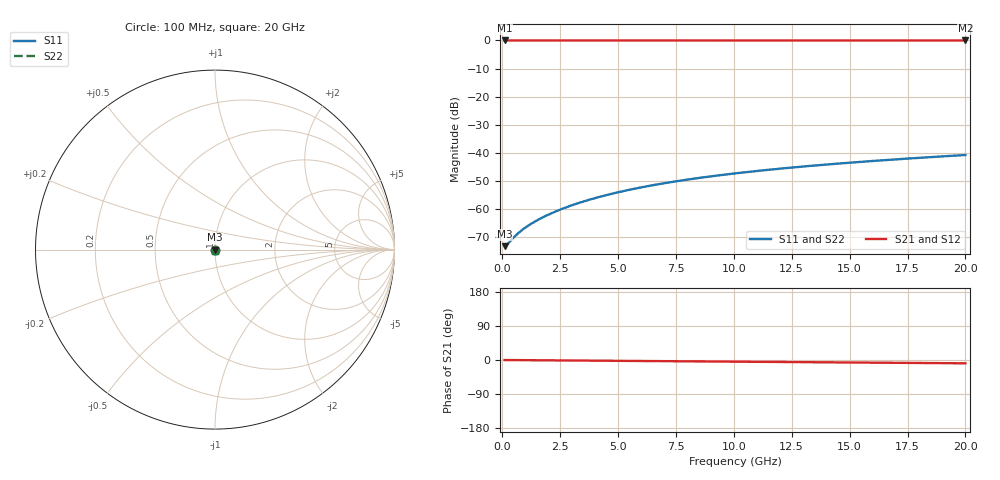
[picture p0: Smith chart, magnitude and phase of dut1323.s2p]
! Touchstone file exported from HFSS 2026.1.0
!  File:  C:/ffzhzh/LocalFiles/Ansys_Project_Files/temp_train_TSV_1323_1783195200_51560.aedt
!  Generated:  04:01:38 AM Jul  5, 2026
!  Design:  TSV
!  Project:  temp_train_TSV_1323_1783195200_51560
! Variables:
!  h_bsmrdl = 2um
!  h_ox = 20um
!  h_rdl = 5um
!  h_sub = 92.59um
!  h_tmrdl = 5um
!  h_tsv = 92.59um
!  h_via = 3um
!  l_bsmrdl = 300um
!  l_sub = 415.5um
!  l_tmrdl = 200um
!  m_sub = 200um
!  pitch = 29.82um
!  r_tsv = 7.75um
!  s_tmrdl = 10um
!  w_bsmrdl = 18um
!  w_sub = 500um
!  w_tmrdl = 12um
!  x_tsv_center1 = 206um
!  x_tsv_center2 = 524um
!  x_tsv_center3 = 736um
!  x_tsv_center4 = 1054um
!  x_tsv_center5 = 1266um
!  x_tsv_center6 = 1584um
# GHz S MA R 50.000000
! Terminal data exported
! Port[1] = TSV1_1_T1
! Port[2] = TSV1_1_T2
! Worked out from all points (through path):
!   200 points, 100 MHz to 20 GHz, reference 50 ohm
!   highest |S21| = 0.00 dB at 100 MHz (marker M1); lowest = 0.0 dB at 20 GHz (marker M2)
!   group delay of S21, straight-line fit = 1.21 ps
!   lowest |S11| = -73.1 dB at 100 MHz (marker M3), VSWR 1.00, Z = 50 + j0.00113 ohm
!   |S11| at or under -10 dB: start of sweep to end of sweep
!   |S22| runs from -73.1 to -40.7 dB; largest |S21 - S12| = 3.1e-15
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0.1  0.0002201 3.0  0.9998 -0.0  0.9998 -0.0  0.0002201 3.0
! Gamma 0 0 0 0
! Port Impedance 50 0 50 0
0.2  0.0002359 4.7  0.9998 -0.1  0.9998 -0.1  0.0002359 4.7
0.6  0.000347 -3.1  0.9997 -0.3  0.9997 -0.3  0.000347 -3.1
0.8  0.0004095 -10.4  0.9996 -0.4  0.9996 -0.4  0.0004095 -10.4
1.1  0.000504 -20.9  0.9995 -0.5  0.9995 -0.5  0.000504 -20.9
1.4  0.0006003 -29.5  0.9995 -0.6  0.9995 -0.6  0.0006003 -29.5
1.8  0.0007336 -38.3  0.9994 -0.8  0.9994 -0.8  0.0007336 -38.3
2.3  0.0009093 -46.2  0.9994 -1.0  0.9994 -1.0  0.0009093 -46.2
2.9  0.001133 -52.7  0.9993 -1.3  0.9993 -1.3  0.001133 -52.7
3.5  0.001368 -57.3  0.9992 -1.6  0.9992 -1.6  0.001368 -57.3
4.2  0.001656 -61.2  0.9992 -1.9  0.9992 -1.9  0.001656 -61.2
5  0.001999 -64.7  0.9991 -2.2  0.9991 -2.2  0.001999 -64.7
5.9  0.002398 -67.7  0.999 -2.6  0.999 -2.6  0.002398 -67.7
6.8  0.002807 -70.2  0.9989 -3.0  0.9989 -3.0  0.002807 -70.2
7.5  0.00313 -71.9  0.9989 -3.3  0.9989 -3.3  0.00313 -71.9
8.3  0.003503 -73.6  0.9988 -3.6  0.9988 -3.6  0.003503 -73.6
10.1  0.004352 -76.7  0.9987 -4.4  0.9987 -4.4  0.004352 -76.7
11.7  0.005116 -79.0  0.9986 -5.1  0.9986 -5.1  0.005116 -79.0
13.4  0.005934 -81.1  0.9985 -5.9  0.9985 -5.9  0.005934 -81.1
15  0.006711 -82.8  0.9984 -6.6  0.9984 -6.6  0.006711 -82.8
16.7  0.007543 -84.3  0.9983 -7.3  0.9983 -7.3  0.007543 -84.4
20  0.009187 -87.0  0.9981 -8.7  0.9981 -8.7  0.009187 -87.0
